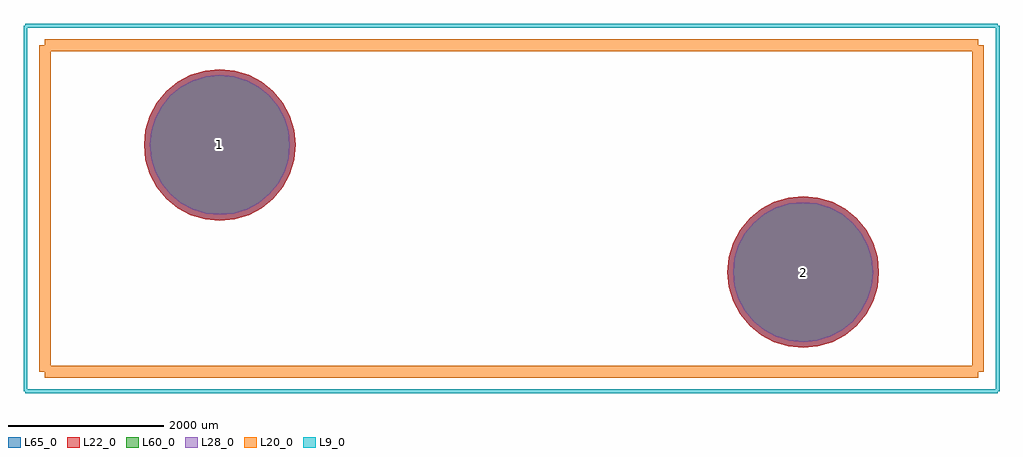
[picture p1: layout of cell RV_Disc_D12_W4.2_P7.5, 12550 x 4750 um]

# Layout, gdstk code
import gdstk
lib = gdstk.Library(unit=1e-6, precision=1e-09)
def P(c, l, *ps):  # polygons
    for p in ps: c.add(gdstk.Polygon(p, *l))
L9_0 = (9, 0)
L20_0 = (20, 0)
L22_0 = (22, 0)
L28_0 = (28, 0)
L60_0 = (60, 0)
L65_0 = (65, 0)

rv_disc_d12_w4_2_p7_5 = lib.new_cell('RV_Disc_D12_W4.2_P7.5')
P(rv_disc_d12_w4_2_p7_5, L22_0, [(8475,-1633.33),(8456.266,-1443.117),(8400.783,-1260.214),(8310.683,-1091.649),(8189.429,-943.901),(8041.681,-822.647),(7873.116,-732.547),(7690.213,-677.064),(7500,-658.33),(7309.787,-677.064),(7126.884,-732.547),(6958.319,-822.647),(6810.571,-943.901),(6689.317,-1091.649),(6599.217,-1260.214),(6543.734,-1443.117),(6525,-1633.33),(6543.734,-1823.543),(6599.217,-2006.446),(6689.317,-2175.011),(6810.571,-2322.759),(6958.319,-2444.013),(7126.884,-2534.113),(7309.787,-2589.596),(7500,-2608.33),(7690.213,-2589.596),(7873.116,-2534.113),(8041.681,-2444.013),(8189.429,-2322.759),(8310.683,-2175.011),(8400.783,-2006.446),(8456.266,-1823.543)],
  [(975,0),(956.266,190.213),(900.783,373.116),(810.683,541.681),(689.429,689.429),(541.681,810.683),(373.116,900.783),(190.213,956.266),(0,975),(-190.213,956.266),(-373.116,900.783),(-541.681,810.683),(-689.429,689.429),(-810.683,541.681),(-900.783,373.116),(-956.266,190.213),(-975,0),(-956.266,-190.213),(-900.783,-373.116),(-810.683,-541.681),(-689.429,-689.429),(-541.681,-810.683),(-373.116,-900.783),(-190.213,-956.266),(0,-975),(190.213,-956.266),(373.116,-900.783),(541.681,-810.683),(689.429,-689.429),(810.683,-541.681),(900.783,-373.116),(956.266,-190.213)])
P(rv_disc_d12_w4_2_p7_5, L28_0, [(8400,-1633.33),(8382.707,-1457.749),(8331.492,-1288.915),(8248.323,-1133.317),(8136.396,-996.934),(8000.013,-885.007),(7844.415,-801.838),(7675.581,-750.623),(7500,-733.33),(7324.419,-750.623),(7155.585,-801.838),(6999.987,-885.007),(6863.604,-996.934),(6751.677,-1133.317),(6668.508,-1288.915),(6617.293,-1457.749),(6600,-1633.33),(6617.293,-1808.911),(6668.508,-1977.745),(6751.677,-2133.343),(6863.604,-2269.726),(6999.987,-2381.653),(7155.585,-2464.822),(7324.419,-2516.037),(7500,-2533.33),(7675.581,-2516.037),(7844.415,-2464.822),(8000.013,-2381.653),(8136.396,-2269.726),(8248.323,-2133.343),(8331.492,-1977.745),(8382.707,-1808.911)],
  [(900,0),(882.707,175.581),(831.492,344.415),(748.323,500.013),(636.396,636.396),(500.013,748.323),(344.415,831.492),(175.581,882.707),(0,900),(-175.581,882.707),(-344.415,831.492),(-500.013,748.323),(-636.396,636.396),(-748.323,500.013),(-831.492,344.415),(-882.707,175.581),(-900,0),(-882.707,-175.581),(-831.492,-344.415),(-748.323,-500.013),(-636.396,-636.396),(-500.013,-748.323),(-344.415,-831.492),(-175.581,-882.707),(0,-900),(175.581,-882.707),(344.415,-831.492),(500.013,-748.323),(636.396,-636.396),(748.323,-500.013),(831.492,-344.415),(882.707,-175.581)])
P(rv_disc_d12_w4_2_p7_5, L60_0, [(8400,-1633.33),(8382.707,-1457.749),(8331.492,-1288.915),(8248.323,-1133.317),(8136.396,-996.934),(8000.013,-885.007),(7844.415,-801.838),(7675.581,-750.623),(7500,-733.33),(7324.419,-750.623),(7155.585,-801.838),(6999.987,-885.007),(6863.604,-996.934),(6751.677,-1133.317),(6668.508,-1288.915),(6617.293,-1457.749),(6600,-1633.33),(6617.293,-1808.911),(6668.508,-1977.745),(6751.677,-2133.343),(6863.604,-2269.726),(6999.987,-2381.653),(7155.585,-2464.822),(7324.419,-2516.037),(7500,-2533.33),(7675.581,-2516.037),(7844.415,-2464.822),(8000.013,-2381.653),(8136.396,-2269.726),(8248.323,-2133.343),(8331.492,-1977.745),(8382.707,-1808.911)],
  [(900,0),(882.707,175.581),(831.492,344.415),(748.323,500.013),(636.396,636.396),(500.013,748.323),(344.415,831.492),(175.581,882.707),(0,900),(-175.581,882.707),(-344.415,831.492),(-500.013,748.323),(-636.396,636.396),(-748.323,500.013),(-831.492,344.415),(-882.707,175.581),(-900,0),(-882.707,-175.581),(-831.492,-344.415),(-748.323,-500.013),(-636.396,-636.396),(-500.013,-748.323),(-344.415,-831.492),(-175.581,-882.707),(0,-900),(175.581,-882.707),(344.415,-831.492),(500.013,-748.323),(636.396,-636.396),(748.323,-500.013),(831.492,-344.415),(882.707,-175.581)])
P(rv_disc_d12_w4_2_p7_5, L65_0, [(8475,-1633.33),(8456.266,-1443.117),(8400.783,-1260.214),(8310.683,-1091.649),(8189.429,-943.901),(8041.681,-822.647),(7873.116,-732.547),(7690.213,-677.064),(7500,-658.33),(7309.787,-677.064),(7126.884,-732.547),(6958.319,-822.647),(6810.571,-943.901),(6689.317,-1091.649),(6599.217,-1260.214),(6543.734,-1443.117),(6525,-1633.33),(6543.734,-1823.543),(6599.217,-2006.446),(6689.317,-2175.011),(6810.571,-2322.759),(6958.319,-2444.013),(7126.884,-2534.113),(7309.787,-2589.596),(7500,-2608.33),(7690.213,-2589.596),(7873.116,-2534.113),(8041.681,-2444.013),(8189.429,-2322.759),(8310.683,-2175.011),(8400.783,-2006.446),(8456.266,-1823.543)],
  [(975,0),(956.266,190.213),(900.783,373.116),(810.683,541.681),(689.429,689.429),(541.681,810.683),(373.116,900.783),(190.213,956.266),(0,975),(-190.213,956.266),(-373.116,900.783),(-541.681,810.683),(-689.429,689.429),(-810.683,541.681),(-900.783,373.116),(-956.266,190.213),(-975,0),(-956.266,-190.213),(-900.783,-373.116),(-810.683,-541.681),(-689.429,-689.429),(-541.681,-810.683),(-373.116,-900.783),(-190.213,-956.266),(0,-975),(190.213,-956.266),(373.116,-900.783),(541.681,-810.683),(689.429,-689.429),(810.683,-541.681),(900.783,-373.116),(956.266,-190.213)])
rv_disc_d12_w4_2_p7_5.add(gdstk.FlexPath([(-2250,1283.33),(-2250,-2916.67)], 149.998, ends="flush", simple_path=True, layer=20, datatype=0))  # L20_0
rv_disc_d12_w4_2_p7_5.add(gdstk.FlexPath([(9750,1283.33),(9750,-2916.67)], 149.998, ends="flush", simple_path=True, layer=20, datatype=0))  # L20_0
rv_disc_d12_w4_2_p7_5.add(gdstk.FlexPath([(-2250,1283.33),(9750,1283.33)], 149.998, ends="flush", simple_path=True, layer=20, datatype=0))  # L20_0
rv_disc_d12_w4_2_p7_5.add(gdstk.FlexPath([(-2250,-2916.67),(9750,-2916.67)], 149.998, ends="flush", simple_path=True, layer=20, datatype=0))  # L20_0
rv_disc_d12_w4_2_p7_5.add(gdstk.FlexPath([(-2500,1533.33),(-2500,-3166.67)], 50, ends="flush", simple_path=True, layer=9, datatype=0))  # L9_0
rv_disc_d12_w4_2_p7_5.add(gdstk.FlexPath([(10000,1533.33),(10000,-3166.67)], 50, ends="flush", simple_path=True, layer=9, datatype=0))  # L9_0
rv_disc_d12_w4_2_p7_5.add(gdstk.FlexPath([(-2500,1533.33),(10000,1533.33)], 50, ends="flush", simple_path=True, layer=9, datatype=0))  # L9_0
rv_disc_d12_w4_2_p7_5.add(gdstk.FlexPath([(-2500,-3166.67),(10000,-3166.67)], 50, ends="flush", simple_path=True, layer=9, datatype=0))  # L9_0
rv_disc_d12_w4_2_p7_5.add(gdstk.Label('2', (7500,-1633.33), layer=28, texttype=0))
rv_disc_d12_w4_2_p7_5.add(gdstk.Label('1', (0,0), layer=28, texttype=0))
rv_disc_d12_w4_2_p7_5.add(gdstk.Label('type', (3750,2283.33), layer=9, texttype=0))
rv_disc_d12_w4_2_p7_5.add(gdstk.Label('devicename', (3750,-3916.67), layer=9, texttype=0))

lib.write_gds('RV_Disc_D12_W4.2_P7.5.gds')
